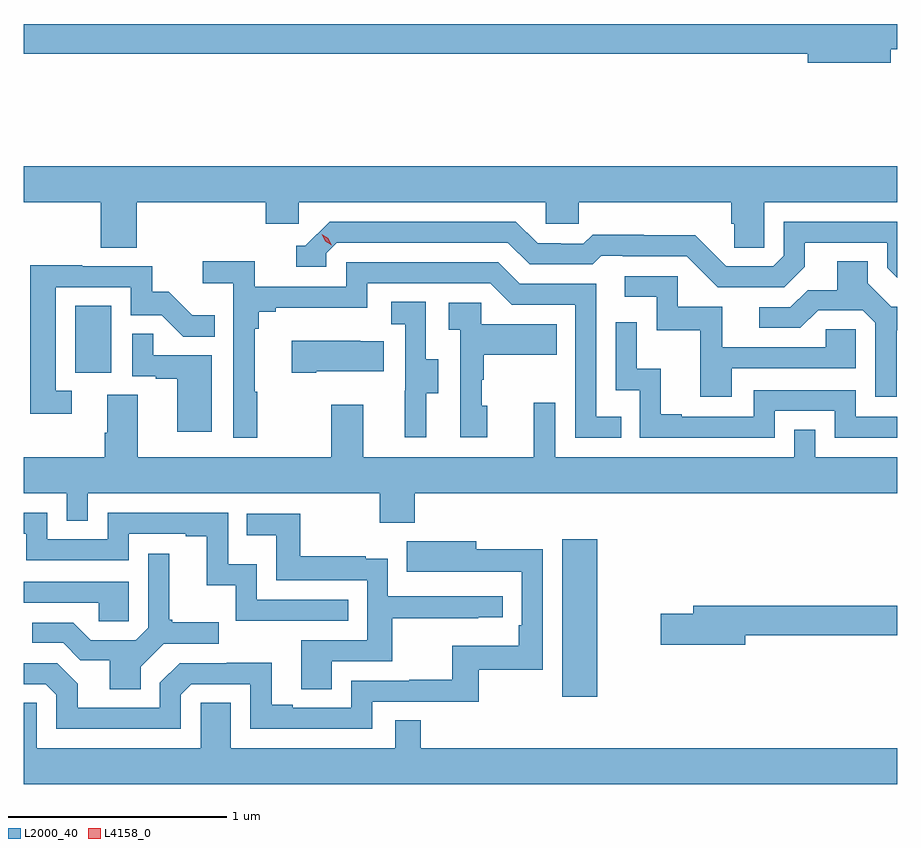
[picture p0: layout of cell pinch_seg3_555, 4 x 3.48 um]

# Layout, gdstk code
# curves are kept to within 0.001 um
import gdstk
lib = gdstk.Library(unit=1e-6, precision=1e-09)
def R(c, l, rs):  # rectangles x0, y0, x1, y1
    for r in rs: c.add(gdstk.rectangle(r[:2], r[2:], *l))
def P(c, l, *ps):  # polygons
    for p in ps: c.add(gdstk.Polygon(p, *l))
L2000_40 = (2000, 40)
L4158_0 = (4158, 0)

pinch_seg3_555 = lib.new_cell('pinch_seg3_555')
R(pinch_seg3_555, L2000_40, [(1092.623,698.652,1092.784,699.373), (1090.394,700.134,1090.558,700.441)])
P(pinch_seg3_555, L2000_40, [(1094.128,701.616),(1094.158,701.616),(1094.158,701.732),(1090.158,701.732),(1090.158,701.596),(1093.748,701.596),(1093.748,701.554),(1094.128,701.554)],
  [(1090.676,700.916),(1091.267,700.916),(1091.267,700.818),(1091.418,700.818),(1091.418,700.916),(1092.549,700.916),(1092.549,700.818),(1092.699,700.818),(1092.699,700.916),(1093.397,700.916),(1093.397,700.818),(1093.411,700.818),(1093.411,700.708),(1093.548,700.708),(1093.548,700.916),(1094.158,700.916),(1094.158,701.08),(1090.158,701.08),(1090.158,700.916),(1090.511,700.916),(1090.511,700.708),(1090.676,700.708)],
  [(1093.735,700.621),(1093.735,700.731),(1094.112,700.731),(1094.112,700.617),(1094.158,700.571),(1094.158,700.827),(1093.638,700.827),(1093.638,700.671),(1093.59,700.623),(1093.374,700.623),(1093.232,700.765),(1092.996,700.765),(1092.996,700.768),(1092.763,700.768),(1092.721,700.725),(1092.618,700.725),(1092.618,700.728),(1092.511,700.728),(1092.412,700.827),(1091.559,700.827),(1091.448,700.716),(1091.405,700.716),(1091.405,700.62),(1091.544,700.62),(1091.544,700.683),(1091.592,700.731),(1092.375,700.731),(1092.474,700.632),(1092.763,700.632),(1092.802,700.671),(1092.901,700.671),(1092.901,700.668),(1093.194,700.668),(1093.335,700.527),(1093.641,700.527)],
  [(1091.227,700.049),(1091.215,700.049),(1091.215,700.337),(1091.234,700.337),(1091.234,700.414),(1091.311,700.414),(1091.311,700.433),(1091.73,700.433),(1091.73,700.545),(1092.294,700.545),(1092.393,700.446),(1092.684,700.446),(1092.684,699.837),(1092.893,699.837),(1092.893,699.933),(1092.78,699.933),(1092.78,700.542),(1092.43,700.542),(1092.331,700.641),(1091.634,700.641),(1091.634,700.53),(1091.216,700.53),(1091.216,700.646),(1090.977,700.646),(1090.977,700.544),(1091.118,700.544),(1091.118,699.837),(1091.227,699.837)],
  [(1094.155,700.329),(1094.158,700.329),(1094.158,700.437),(1094.13,700.437),(1094.023,700.544),(1094.023,700.646),(1093.883,700.646),(1093.883,700.514),(1093.748,700.514),(1093.668,700.434),(1093.527,700.434),(1093.527,700.341),(1093.714,700.341),(1093.795,700.422),(1094.001,700.422),(1094.058,700.365),(1094.058,700.026),(1094.155,700.026)],
  [(1090.378,700.053),(1090.305,700.053),(1090.305,700.527),(1090.647,700.527),(1090.647,700.398),(1090.791,700.398),(1090.889,700.3),(1091.033,700.3),(1091.033,700.399),(1090.929,700.399),(1090.822,700.506),(1090.746,700.506),(1090.746,700.623),(1090.427,700.623),(1090.427,700.628),(1090.189,700.628),(1090.189,699.948),(1090.378,699.948)],
  [(1093.399,700.155),(1093.968,700.155),(1093.968,700.335),(1093.831,700.335),(1093.831,700.251),(1093.357,700.251),(1093.357,700.437),(1093.152,700.437),(1093.152,700.578),(1092.909,700.578),(1092.909,700.482),(1093.056,700.482),(1093.056,700.329),(1093.255,700.329),(1093.255,700.026),(1093.399,700.026)],
  [(1092.001,700.042),(1092.055,700.042),(1092.055,700.197),(1092,700.197),(1092,700.46),(1091.841,700.46),(1091.841,700.357),(1091.904,700.357),(1091.904,700.053),(1091.903,700.053),(1091.903,699.84),(1092.001,699.84)],
  [(1092.28,699.984),(1092.255,699.984),(1092.255,700.103),(1092.265,700.103),(1092.265,700.217),(1092.599,700.217),(1092.599,700.357),(1092.252,700.357),(1092.252,700.455),(1092.105,700.455),(1092.105,700.331),(1092.156,700.331),(1092.156,699.84),(1092.28,699.84)],
  [(1093.596,699.96),(1093.872,699.96),(1093.872,699.837),(1094.158,699.837),(1094.158,699.933),(1093.968,699.933),(1093.968,700.056),(1093.5,700.056),(1093.5,699.933),(1093.171,699.933),(1093.171,699.946),(1093.076,699.946),(1093.076,700.154),(1092.966,700.154),(1092.966,700.366),(1092.87,700.366),(1092.87,700.056),(1092.978,700.056),(1092.978,699.837),(1093.596,699.837)],
  [(1091.02,700.215),(1090.751,700.215),(1090.751,700.313),(1090.656,700.313),(1090.656,700.119),(1090.763,700.119),(1090.763,700.107),(1090.862,700.107),(1090.862,699.864),(1091.02,699.864)],
  [(1091.497,700.142),(1091.807,700.142),(1091.807,700.279),(1091.699,700.279),(1091.699,700.282),(1091.385,700.282),(1091.385,700.135),(1091.497,700.135)],
  [(1091.788,699.449),(1091.948,699.449),(1091.948,699.584),(1094.158,699.584),(1094.158,699.748),(1093.782,699.748),(1093.782,699.875),(1093.686,699.875),(1093.686,699.748),(1092.591,699.748),(1092.591,699.997),(1092.494,699.997),(1092.494,699.748),(1091.713,699.748),(1091.713,699.988),(1091.566,699.988),(1091.566,699.748),(1090.681,699.748),(1090.681,700.034),(1090.541,700.034),(1090.541,699.86),(1090.529,699.86),(1090.529,699.748),(1090.158,699.748),(1090.158,699.584),(1090.356,699.584),(1090.356,699.457),(1090.452,699.457),(1090.452,699.584),(1091.788,699.584)],
  [(1091.645,699.096),(1091.226,699.096),(1091.226,699.259),(1091.094,699.259),(1091.094,699.495),(1090.542,699.495),(1090.542,699.372),(1090.266,699.372),(1090.266,699.495),(1090.158,699.495),(1090.158,699.399),(1090.17,699.399),(1090.17,699.276),(1090.638,699.276),(1090.638,699.399),(1090.901,699.399),(1090.901,699.387),(1090.997,699.387),(1090.997,699.161),(1091.13,699.161),(1091.13,699),(1091.645,699)],
  [(1091.569,698.814),(1091.846,698.814),(1091.846,699.01),(1092.239,699.01),(1092.239,699.015),(1092.352,699.015),(1092.352,699.111),(1091.826,699.111),(1091.826,699.283),(1091.723,699.283),(1091.723,699.295),(1091.425,699.295),(1091.425,699.489),(1091.179,699.489),(1091.179,699.392),(1091.314,699.392),(1091.314,699.186),(1091.73,699.186),(1091.73,698.91),(1091.429,698.91),(1091.429,698.686),(1091.569,698.686)],
  [(1090.878,698.661),(1090.926,698.709),(1091.196,698.709),(1091.196,698.505),(1091.754,698.505),(1091.754,698.628),(1092.241,698.628),(1092.241,698.775),(1092.534,698.775),(1092.534,699.326),(1092.229,699.326),(1092.229,699.364),(1091.911,699.364),(1091.911,699.224),(1092.438,699.225),(1092.438,698.98),(1092.425,698.98),(1092.425,698.884),(1092.12,698.884),(1092.12,698.729),(1091.923,698.729),(1091.923,698.724),(1091.658,698.724),(1091.658,698.601),(1091.389,698.601),(1091.389,698.614),(1091.293,698.614),(1091.293,698.807),(1091.088,698.807),(1091.088,698.805),(1090.872,698.805),(1090.782,698.715),(1090.782,698.601),(1090.405,698.601),(1090.405,698.711),(1090.311,698.805),(1090.158,698.805),(1090.158,698.709),(1090.26,698.709),(1090.308,698.661),(1090.308,698.505),(1090.878,698.505)],
  [(1090.693,698.788),(1090.8,698.895),(1091.05,698.895),(1091.05,698.992),(1090.837,698.992),(1090.837,699.004),(1090.825,699.004),(1090.825,699.307),(1090.728,699.307),(1090.728,698.967),(1090.671,698.91),(1090.465,698.91),(1090.384,698.991),(1090.197,698.991),(1090.197,698.898),(1090.338,698.898),(1090.418,698.818),(1090.553,698.818),(1090.553,698.686),(1090.693,698.686)],
  [(1090.638,699.177),(1090.158,699.177),(1090.158,699.081),(1090.501,699.081),(1090.501,698.997),(1090.638,698.997)],
  [(1093.462,698.932),(1094.158,698.932),(1094.158,699.068),(1093.223,699.068),(1093.223,699.032),(1093.074,699.032),(1093.074,698.89),(1093.462,698.89)],
  [(1094.158,698.416),(1091.975,698.416),(1091.975,698.543),(1091.859,698.543),(1091.859,698.416),(1091.107,698.416),(1091.107,698.624),(1090.968,698.624),(1090.968,698.416),(1090.218,698.416),(1090.218,698.624),(1090.158,698.624),(1090.158,698.252),(1094.158,698.252)])
P(pinch_seg3_555, L4158_0, [(1091.569,700.718),(1091.538,700.737),(1091.522,700.77),(1091.522,700.77),(1091.522,700.77),(1091.553,700.751),(1091.569,700.718),(1091.569,700.718)])

lib.write_gds('pinch_seg3_555.gds')
